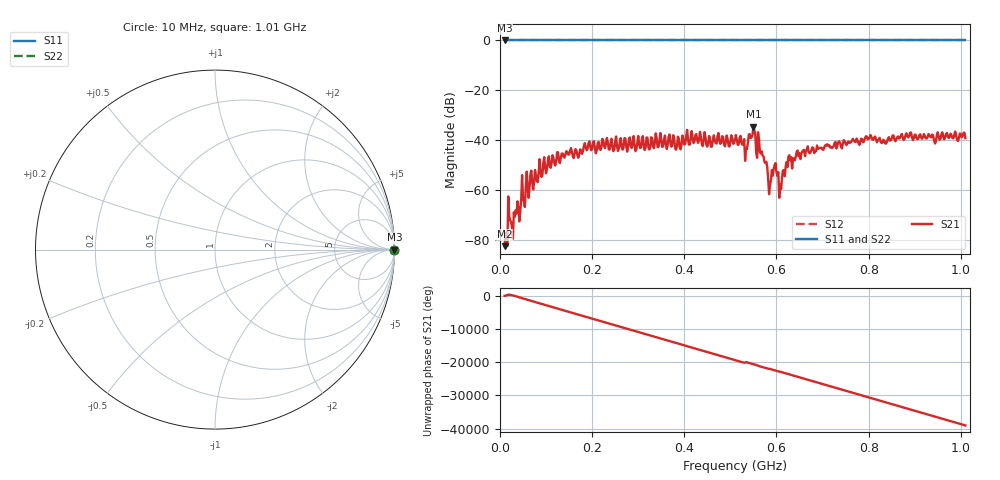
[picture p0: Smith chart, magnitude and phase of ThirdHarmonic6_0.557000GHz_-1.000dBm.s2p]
! 8/15/2025 5:43:40 PM
! C:\ANRITSUVNA\TEMP\TEMP.S2P
! CHANNEL.1
! TR.MEASUREMENT
! RAW.DATA
! RF.CORRECTION.OFF
! AVERAGING.OFF
! IF.BANDWIDTH: 5KHZ
! SWEEPTYPE:  FREQ.SWEEP(Linear)
! Reference Plane Port Info
! PORT:  PORT1  PORT2
! DISTANCE:  0  m  0  m
! TIME:  0  s  0  s
! PHASE.OFFSET:  0  deg.  0  deg.
! LOSS:  0  dB  0  dB
! REF.LOSS:  0  dB  0  dB
! REF.FREQ:  0  Hz  0  Hz
! Power Info
! POWER:  -20  dBm  -20  dBm
! EFF.POWER:  -20  dBm  -20  dBm
! SOURCE.ATTEN:  0  dB  0  dB
! TEST.ATTEN:  0  dB  0  dB
# GHZ S RI R 50.0
! FREQ.GHZ  S11RE  S11IM  S21RE  S21IM  S12RE  S12IM  S22RE  S22IM
!; PortSelection: Port_12
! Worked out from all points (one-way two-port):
!   501 points, 10 MHz to 1.01 GHz, reference 50 ohm
!   highest |S21| = -34.67 dB at 550 MHz (marker M1); lowest = -82.7 dB at 10 MHz (marker M2)
!   lowest |S11| = 0.0 dB at 10 MHz (marker M3)
!   |S11| at or under -10 dB: nowhere
!   |S22| runs from 0.0 to 0.0 dB; largest |S21 - S12| = 1
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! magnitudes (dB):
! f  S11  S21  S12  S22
! 10 MHz  0.0  -82.7  0.0  0.0
! 22 MHz  0.0  -72.3  0.0  0.0
! 24 MHz  0.0  -72.9  0.0  0.0
! 28 MHz  0.0  -79.7  0.0  0.0
! 34 MHz  0.0  -68.2  0.0  0.0
! 40 MHz  0.0  -67.2  0.0  0.0
! 62 MHz  0.0  -63.2  0.0  0.0
! 90 MHz  0.0  -54.8  0.0  0.0
! 178 MHz  0.0  -45.6  0.0  0.0
! 344 MHz  0.0  -42.8  0.0  0.0
! 510 MHz  0.0  -39.8  0.0  0.0
! 534 MHz  0.0  -43.2  0.0  0.0
! 550 MHz  0.0  -34.7  0.0  0.0
! 564 MHz  0.0  -44.8  0.0  0.0
! 586 MHz  0.0  -58.1  0.0  0.0
! 594 MHz  0.0  -51.6  0.0  0.0
! 610 MHz  0.0  -59.8  0.0  0.0
! 626 MHz  0.0  -46.5  0.0  0.0
! 678 MHz  0.0  -42.9  0.0  0.0
! 800 MHz  0.0  -39.6  0.0  0.0
! 844 MHz  0.0  -38.9  0.0  0.0
! 1.01 GHz  0.0  -39.3  0.0  0.0
